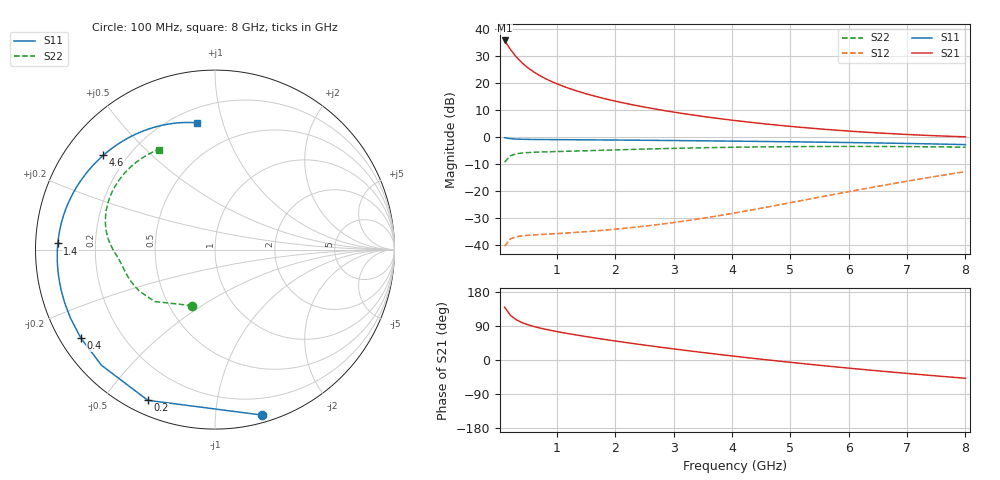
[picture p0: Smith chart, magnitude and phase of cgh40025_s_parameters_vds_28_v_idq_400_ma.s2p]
! AWR Design Environment (8345) Tue Sep 05 14:16:53 2017
! Document = 'SParameters'
! nPorts: 2, nXvals: 80
# HZ S DB R 50
!Freq DBS11 AngS11 DBS21 AngS21 DBS12 AngS12 DBS22 AngS22
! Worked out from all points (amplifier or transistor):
!   80 points, 100 MHz to 8 GHz, reference 50 ohm
!   highest |S21| = 35.6 dB at 100 MHz (marker M1)
!   |S21| within 3 dB of that: start of sweep to 189.9 MHz
!   unconditionally stable (mu >= 1): 2.855 GHz to 5.122 GHz
!   at 1.4 GHz: K = 0.57, MSG = 25.9 dB, |S12| = -35.3 dB
!   at 4.1 GHz: K = 1.09, MAG = 15.1 dB, |S12| = -28.0 dB
!   at 8 GHz: K = 0.75, MSG = 6.5 dB, |S12| = -12.9 dB
!   S11 on the Smith chart (normalised r, x): 100 MHz: 0.06, -1.32; 200 MHz: 0.06, -0.65; 400 MHz: 0.06, -0.30; 1.4 GHz: 0.07, +0.02; 4.6 GHz: 0.12, +0.36; 8 GHz: 0.29, +0.83
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1e8  -0.38 -74.2  35.62 139.5  -40.53 51.4  -9.45 -112.0
2e8  -0.73 -114.0  32.29 117.8  -37.82 31.8  -7.04 -139.4
3e8  -0.89 -134.5  29.51 106.1  -37.04 22.1  -6.33 -151.7
4e8  -0.96 -146.6  27.30 98.6  -36.70 16.6  -6.03 -158.5
5e8  -1.00 -154.6  25.49 93.0  -36.50 13.1  -5.87 -162.8
6e8  -1.03 -160.4  23.97 88.5  -36.35 10.6  -5.77 -165.8
7e8  -1.05 -164.9  22.65 84.6  -36.23 8.7  -5.69 -168.0
8e8  -1.06 -168.5  21.50 81.1  -36.11 7.3  -5.62 -169.7
9e8  -1.08 -171.5  20.47 77.9  -35.99 6.2  -5.56 -171.1
1.1e9  -1.10 -176.5  18.70 72.1  -35.74 4.5  -5.44 -173.3
1.2e9  -1.12 -178.6  17.91 69.4  -35.60 4.0  -5.38 -174.3
1.4e9  -1.15 177.8  16.51 64.2  -35.31 3.1  -5.26 -175.9
1.5e9  -1.16 176.1  15.87 61.8  -35.15 2.8  -5.20 -176.7
1.8e9  -1.21 171.6  14.16 54.6  -34.62 2.4  -5.01 -178.9
2.1e9  -1.26 167.6  12.68 47.9  -34.03 2.5  -4.82 178.9
2.8e9  -1.39 159.2  9.81 33.2  -32.33 4.7  -4.42 173.6
3.4e9  -1.51 152.6  7.81 21.6  -30.53 7.7  -4.14 168.6
4.1e9  -1.67 145.2  5.85 8.9  -28.03 10.9  -3.89 162.3
4.6e9  -1.78 139.8  4.66 0.4  -26.06 12.4  -3.76 157.5
5.4e9  -1.99 131.0  3.07 -12.4  -22.79 12.5  -3.64 149.5
6.7e9  -2.39 115.6  1.16 -31.4  -17.60 6.7  -3.64 135.3
8e9  -2.93 98.1  -0.04 -48.2  -12.94 -5.1  -3.88 119.3
